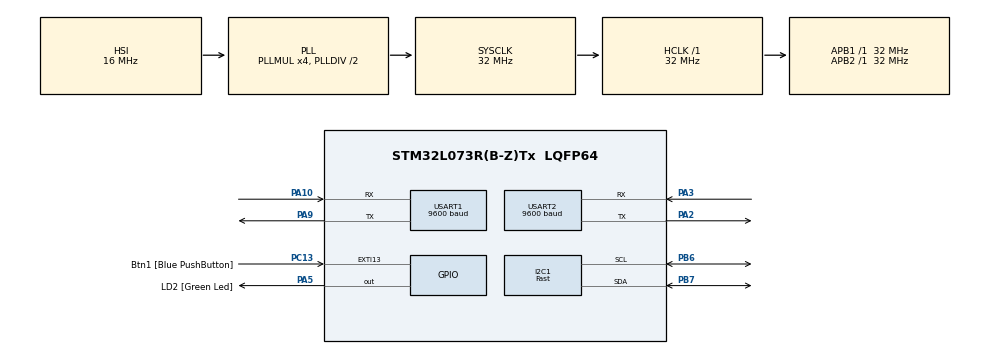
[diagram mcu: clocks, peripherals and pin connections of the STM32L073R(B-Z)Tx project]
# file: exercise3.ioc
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I2C1.I2C_Fall_Time=100
I2C1.I2C_Rise_Time=250
I2C1.I2C_Speed_Mode=I2C_Fast
I2C1.Timing=0x00B0122A
Mcu.Family=STM32L0
Mcu.Name=STM32L073R(B-Z)Tx
Mcu.Package=LQFP64
NVIC.EXTI4_15_IRQn=true\:0\:0\:false\:false\:true\:true
NVIC.I2C1_IRQn=true\:0\:0\:false\:false\:true\:true
NVIC.USART1_IRQn=true\:0\:0\:false\:false\:true\:true
NVIC.USART2_IRQn=true\:0\:0\:false\:false\:true\:true
PA10.Mode=Asynchronous
PA10.Signal=USART1_RX
PA13.Mode=Serial_Wire
PA13.Signal=SYS_SWDIO
PA14.Mode=Serial_Wire
PA14.Signal=SYS_SWCLK
PA2.Mode=Asynchronous
PA2.Signal=USART2_TX
PA3.Mode=Asynchronous
PA3.Signal=USART2_RX
PA5.GPIO_Label=LD2 [Green Led]
PA5.Signal=GPIO_Output
PA9.Mode=Asynchronous
PA9.Signal=USART1_TX
PB6.Mode=I2C
PB6.Signal=I2C1_SCL
PB7.Mode=I2C
PB7.Signal=I2C1_SDA
PC13.GPIO_Label=Btn1 [Blue PushButton]
PC13.Signal=GPXTI13
ProjectManager.HeapSize=0x200
ProjectManager.StackSize=0x400
ProjectManager.TargetToolchain=MDK-ARM V5
RCC.AHBFreq_Value=32000000
RCC.APB1Freq_Value=32000000
RCC.APB1TimFreq_Value=32000000
RCC.APB2Freq_Value=32000000
RCC.APB2TimFreq_Value=32000000
RCC.HCLKFreq_Value=32000000
RCC.HSE_VALUE=8000000
RCC.HSI16_VALUE=16000000
RCC.HSI48_VALUE=48000000
RCC.HSI_VALUE=16000000
RCC.LSE_VALUE=32768
RCC.MSI_VALUE=2097000
RCC.PLLMUL=RCC_PLLMUL_4
RCC.SYSCLKFreq_VALUE=32000000
RCC.SYSCLKSource=RCC_SYSCLKSOURCE_PLLCLK
RCC.VCOOutputFreq_Value=64000000
USART1.BaudRate=9600
USART1.VirtualMode-Asynchronous=VM_ASYNC
USART1.WordLength=WORDLENGTH_8B
USART2.BaudRate=9600
USART2.VirtualMode-Asynchronous=VM_ASYNC
USART2.WordLength=WORDLENGTH_8B
board=NUCLEO-L073RZ

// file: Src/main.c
/**
  ******************************************************************************
  * @file           : main.c
  * @brief          : Main program body
  ******************************************************************************
  ** This notice applies to any and all portions of this file
  * that are not between comment pairs USER CODE BEGIN and
  * USER CODE END. Other portions of this file, whether
  * inserted by the user or by software development tools
  * are owned by their respective copyright owners.
  *
  * COPYRIGHT(c) 2018 STMicroelectronics
  *
  * Redistribution and use in source and binary forms, with or without modification,
  * are permitted provided that the following conditions are met:
  *   1. Redistributions of source code must retain the above copyright notice,
  *      this list of conditions and the following disclaimer.
  *   2. Redistributions in binary form must reproduce the above copyright notice,
  *      this list of conditions and the following disclaimer in the documentation
  *      and/or other materials provided with the distribution.
  *   3. Neither the name of STMicroelectronics nor the names of its contributors
  *      may be used to endorse or promote products derived from this software
  *      without specific prior written permission.
  *
  * THIS SOFTWARE IS PROVIDED BY THE COPYRIGHT HOLDERS AND CONTRIBUTORS "AS IS"
  * AND ANY EXPRESS OR IMPLIED WARRANTIES, INCLUDING, BUT NOT LIMITED TO, THE
  * IMPLIED WARRANTIES OF MERCHANTABILITY AND FITNESS FOR A PARTICULAR PURPOSE ARE
  * DISCLAIMED. IN NO EVENT SHALL THE COPYRIGHT HOLDER OR CONTRIBUTORS BE LIABLE
  * FOR ANY DIRECT, INDIRECT, INCIDENTAL, SPECIAL, EXEMPLARY, OR CONSEQUENTIAL
  * DAMAGES (INCLUDING, BUT NOT LIMITED TO, PROCUREMENT OF SUBSTITUTE GOODS OR
  * SERVICES; LOSS OF USE, DATA, OR PROFITS; OR BUSINESS INTERRUPTION) HOWEVER
  * CAUSED AND ON ANY THEORY OF LIABILITY, WHETHER IN CONTRACT, STRICT LIABILITY,
  * OR TORT (INCLUDING NEGLIGENCE OR OTHERWISE) ARISING IN ANY WAY OUT OF THE USE
  * OF THIS SOFTWARE, EVEN IF ADVISED OF THE POSSIBILITY OF SUCH DAMAGE.
  *
  ******************************************************************************
  */
#include "main.h"
#include "stm32l0xx_hal.h"

/* USER CODE BEGIN Includes */
#include <stdio.h>
#include <string.h>
#include <stdbool.h>

#define DELAY_UART_TX			120			/* delay for write debug string*/

// I2C
#define I2C_ADDRESS       			0x00
#define I2C_MASTER_REQ_READ   	 	0x12
#define I2C_MASTER_REQ_WRITE   		0x34

/* USER CODE END Includes */

I2C_HandleTypeDef hi2c1;

UART_HandleTypeDef huart1;
UART_HandleTypeDef huart2;

/* USER CODE BEGIN PV */
/* Private variables ---------------------------------------------------------*/

typedef enum {
	TRANSFER_TX_RESET = 0,
	TRANSFER_TX_WAIT,
	TRANSFER_TX_COMPLETE,
	TRANSFER_RX_RESET,
	TRANSFER_RX_WAIT,
	TRANSFER_RX_COMPLETE,
	TRANSFER_ERROR
} TransferStatus;

/**** GPIO *****/
static __IO ITStatus GPIO_Btn1_Pin_Pressed = RESET;               /* Set to 1 if GPIO Btn1_Pin pressed */
int LED_pattern = 0;

/**** UART *****/
uint8_t UART_txBuffer[UART_TXBUFFERSIZE];
uint8_t UART_rxBuffer[UART_RXBUFFERSIZE];

static __IO ITStatus UART_txCompleteDetected = RESET;       	/* Set to 1 if UART TX is completed */
static __IO TransferStatus UART_rxStatus = TRANSFER_RX_RESET;
static __IO ITStatus UART_transErrorDetected = RESET;       	/* Set to 1 if a UART error TX,RX is detected */

/**** I2C *****/
uint8_t I2C_Buffer[I2C_BUFFERSIZE];

/* USER CODE END PV */

void SystemClock_Config(void);
static void MX_GPIO_Init(void);
static void MX_USART2_UART_Init(void);
static void MX_I2C1_Init(void);
static void MX_USART1_UART_Init(void);

/* USER CODE BEGIN PFP */
/* Private function prototypes -----------------------------------------------*/
static void uart_log(char *s);
static void uart_print(uint8_t* p_buf, uint16_t buf_len);
static void uart_check_cmd(void);

static void i2c_master_send(void);
static void i2c_master_receive(void);
static void i2c_slave_receive(void);

/* USER CODE END PFP */

int main(void)
{

  /* MCU Configuration----------------------------------------------------------*/

  /* Reset of all peripherals, Initializes the Flash interface and the Systick. */
  HAL_Init();

  /* Configure the system clock */
  SystemClock_Config();

  /* Initialize all configured peripherals */
  MX_GPIO_Init();
  MX_USART2_UART_Init();
  MX_I2C1_Init();
  MX_USART1_UART_Init();

  /* Infinite loop */
  /* USER CODE BEGIN WHILE */

  uart_log("Hello");

  while (1)
  {
	  uart_check_cmd();

	  if (GPIO_Btn1_Pin_Pressed == SET)
	  {
		  GPIO_Btn1_Pin_Pressed = RESET;
		  HAL_GPIO_TogglePin(LD2_GPIO_Port, LD2_Pin);
	  }

  /* USER CODE END WHILE */

  }

}

void SystemClock_Config(void)
{

  RCC_OscInitTypeDef RCC_OscInitStruct;
  RCC_ClkInitTypeDef RCC_ClkInitStruct;
  RCC_PeriphCLKInitTypeDef PeriphClkInit;

    /**Configure the main internal regulator output voltage
    */
  __HAL_PWR_VOLTAGESCALING_CONFIG(PWR_REGULATOR_VOLTAGE_SCALE1);

    /**Initializes the CPU, AHB and APB busses clocks
    */
  RCC_OscInitStruct.OscillatorType = RCC_OSCILLATORTYPE_HSI;
  RCC_OscInitStruct.HSIState = RCC_HSI_ON;
  RCC_OscInitStruct.HSICalibrationValue = 16;
  RCC_OscInitStruct.PLL.PLLState = RCC_PLL_ON;
  RCC_OscInitStruct.PLL.PLLSource = RCC_PLLSOURCE_HSI;
  RCC_OscInitStruct.PLL.PLLMUL = RCC_PLLMUL_4;
  RCC_OscInitStruct.PLL.PLLDIV = RCC_PLLDIV_2;
  if (HAL_RCC_OscConfig(&RCC_OscInitStruct) != HAL_OK)
  {
    _Error_Handler(__FILE__, __LINE__);
  }

    /**Initializes the CPU, AHB and APB busses clocks
    */
  RCC_ClkInitStruct.ClockType = RCC_CLOCKTYPE_HCLK|RCC_CLOCKTYPE_SYSCLK
                              |RCC_CLOCKTYPE_PCLK1|RCC_CLOCKTYPE_PCLK2;
  RCC_ClkInitStruct.SYSCLKSource = RCC_SYSCLKSOURCE_PLLCLK;
  RCC_ClkInitStruct.AHBCLKDivider = RCC_SYSCLK_DIV1;
  RCC_ClkInitStruct.APB1CLKDivider = RCC_HCLK_DIV1;
  RCC_ClkInitStruct.APB2CLKDivider = RCC_HCLK_DIV1;

  if (HAL_RCC_ClockConfig(&RCC_ClkInitStruct, FLASH_LATENCY_1) != HAL_OK)
  {
    _Error_Handler(__FILE__, __LINE__);
  }

  PeriphClkInit.PeriphClockSelection = RCC_PERIPHCLK_USART1|RCC_PERIPHCLK_USART2
                              |RCC_PERIPHCLK_I2C1;
  PeriphClkInit.Usart1ClockSelection = RCC_USART1CLKSOURCE_PCLK2;
  PeriphClkInit.Usart2ClockSelection = RCC_USART2CLKSOURCE_PCLK1;
  PeriphClkInit.I2c1ClockSelection = RCC_I2C1CLKSOURCE_PCLK1;
  if (HAL_RCCEx_PeriphCLKConfig(&PeriphClkInit) != HAL_OK)
  {
    _Error_Handler(__FILE__, __LINE__);
  }

    /**Configure the Systick interrupt time
    */
  HAL_SYSTICK_Config(HAL_RCC_GetHCLKFreq()/1000);

    /**Configure the Systick
    */
  HAL_SYSTICK_CLKSourceConfig(SYSTICK_CLKSOURCE_HCLK);

  /* SysTick_IRQn interrupt configuration */
  HAL_NVIC_SetPriority(SysTick_IRQn, 0, 0);
}

/* I2C1 init function */
static void MX_I2C1_Init(void)
{

  hi2c1.Instance = I2C1;
  hi2c1.Init.Timing = 0x00B0122A;
  hi2c1.Init.OwnAddress1 = 0;
  hi2c1.Init.AddressingMode = I2C_ADDRESSINGMODE_7BIT;
  hi2c1.Init.DualAddressMode = I2C_DUALADDRESS_DISABLE;
  hi2c1.Init.OwnAddress2 = 0;
  hi2c1.Init.OwnAddress2Masks = I2C_OA2_NOMASK;
  hi2c1.Init.GeneralCallMode = I2C_GENERALCALL_DISABLE;
  hi2c1.Init.NoStretchMode = I2C_NOSTRETCH_DISABLE;
  if (HAL_I2C_Init(&hi2c1) != HAL_OK)
  {
    _Error_Handler(__FILE__, __LINE__);
  }

    /**Configure Analogue filter
    */
  if (HAL_I2CEx_ConfigAnalogFilter(&hi2c1, I2C_ANALOGFILTER_ENABLE) != HAL_OK)
  {
    _Error_Handler(__FILE__, __LINE__);
  }

    /**Configure Digital filter
    */
  if (HAL_I2CEx_ConfigDigitalFilter(&hi2c1, 0) != HAL_OK)
  {
    _Error_Handler(__FILE__, __LINE__);
  }

}

/* USART1 init function */
static void MX_USART1_UART_Init(void)
{

  huart1.Instance = USART1;
  huart1.Init.BaudRate = 9600;
  huart1.Init.WordLength = UART_WORDLENGTH_8B;
  huart1.Init.StopBits = UART_STOPBITS_1;
  huart1.Init.Parity = UART_PARITY_NONE;
  huart1.Init.Mode = UART_MODE_TX_RX;
  huart1.Init.HwFlowCtl = UART_HWCONTROL_NONE;
  huart1.Init.OverSampling = UART_OVERSAMPLING_16;
  huart1.Init.OneBitSampling = UART_ONE_BIT_SAMPLE_DISABLE;
  huart1.AdvancedInit.AdvFeatureInit = UART_ADVFEATURE_NO_INIT;
  if (HAL_UART_Init(&huart1) != HAL_OK)
  {
    _Error_Handler(__FILE__, __LINE__);
  }

}

/* USART2 init function */
static void MX_USART2_UART_Init(void)
{

  huart2.Instance = USART2;
  huart2.Init.BaudRate = 9600;
  huart2.Init.WordLength = UART_WORDLENGTH_8B;
  huart2.Init.StopBits = UART_STOPBITS_1;
  huart2.Init.Parity = UART_PARITY_NONE;
  huart2.Init.Mode = UART_MODE_TX_RX;
  huart2.Init.HwFlowCtl = UART_HWCONTROL_NONE;
  huart2.Init.OverSampling = UART_OVERSAMPLING_16;
  huart2.Init.OneBitSampling = UART_ONE_BIT_SAMPLE_DISABLE;
  huart2.AdvancedInit.AdvFeatureInit = UART_ADVFEATURE_NO_INIT;
  if (HAL_UART_Init(&huart2) != HAL_OK)
  {
    _Error_Handler(__FILE__, __LINE__);
  }

}

/** Configure pins as
        * Analog
        * Input
        * Output
        * EVENT_OUT
        * EXTI
        * Free pins are configured automatically as Analog (this feature is enabled through
        * the Code Generation settings)
*/
static void MX_GPIO_Init(void)
{

  GPIO_InitTypeDef GPIO_InitStruct;

  /* GPIO Ports Clock Enable */
  __HAL_RCC_GPIOC_CLK_ENABLE();
  __HAL_RCC_GPIOH_CLK_ENABLE();
  __HAL_RCC_GPIOA_CLK_ENABLE();
  __HAL_RCC_GPIOB_CLK_ENABLE();
  __HAL_RCC_GPIOD_CLK_ENABLE();

  /*Configure GPIO pin Output Level */
  HAL_GPIO_WritePin(LD2_GPIO_Port, LD2_Pin, GPIO_PIN_RESET);

  /*Configure GPIO pin : Btn1_Pin */
  GPIO_InitStruct.Pin = Btn1_Pin;
  GPIO_InitStruct.Mode = GPIO_MODE_IT_RISING;
  GPIO_InitStruct.Pull = GPIO_NOPULL;
  HAL_GPIO_Init(Btn1_GPIO_Port, &GPIO_InitStruct);

  /*Configure GPIO pins : PC14 PC15 PC0 PC1
                           PC2 PC3 PC4 PC5
                           PC6 PC7 PC8 PC9
                           PC10 PC11 PC12 */
  GPIO_InitStruct.Pin = GPIO_PIN_14|GPIO_PIN_15|GPIO_PIN_0|GPIO_PIN_1
                          |GPIO_PIN_2|GPIO_PIN_3|GPIO_PIN_4|GPIO_PIN_5
                          |GPIO_PIN_6|GPIO_PIN_7|GPIO_PIN_8|GPIO_PIN_9
                          |GPIO_PIN_10|GPIO_PIN_11|GPIO_PIN_12;
  GPIO_InitStruct.Mode = GPIO_MODE_ANALOG;
  GPIO_InitStruct.Pull = GPIO_NOPULL;
  HAL_GPIO_Init(GPIOC, &GPIO_InitStruct);

  /*Configure GPIO pins : PH0 PH1 */
  GPIO_InitStruct.Pin = GPIO_PIN_0|GPIO_PIN_1;
  GPIO_InitStruct.Mode = GPIO_MODE_ANALOG;
  GPIO_InitStruct.Pull = GPIO_NOPULL;
  HAL_GPIO_Init(GPIOH, &GPIO_InitStruct);

  /*Configure GPIO pins : PA0 PA1 PA4 PA6
                           PA7 PA8 PA11 PA12
                           PA15 */
  GPIO_InitStruct.Pin = GPIO_PIN_0|GPIO_PIN_1|GPIO_PIN_4|GPIO_PIN_6
                          |GPIO_PIN_7|GPIO_PIN_8|GPIO_PIN_11|GPIO_PIN_12
                          |GPIO_PIN_15;
  GPIO_InitStruct.Mode = GPIO_MODE_ANALOG;
  GPIO_InitStruct.Pull = GPIO_NOPULL;
  HAL_GPIO_Init(GPIOA, &GPIO_InitStruct);

  /*Configure GPIO pin : LD2_Pin */
  GPIO_InitStruct.Pin = LD2_Pin;
  GPIO_InitStruct.Mode = GPIO_MODE_OUTPUT_PP;
  GPIO_InitStruct.Pull = GPIO_NOPULL;
  GPIO_InitStruct.Speed = GPIO_SPEED_FREQ_LOW;
  HAL_GPIO_Init(LD2_GPIO_Port, &GPIO_InitStruct);

  /*Configure GPIO pins : PB0 PB1 PB2 PB10
                           PB11 PB12 PB13 PB14
                           PB15 PB3 PB4 PB5
                           PB8 PB9 */
  GPIO_InitStruct.Pin = GPIO_PIN_0|GPIO_PIN_1|GPIO_PIN_2|GPIO_PIN_10
                          |GPIO_PIN_11|GPIO_PIN_12|GPIO_PIN_13|GPIO_PIN_14
                          |GPIO_PIN_15|GPIO_PIN_3|GPIO_PIN_4|GPIO_PIN_5
                          |GPIO_PIN_8|GPIO_PIN_9;
  GPIO_InitStruct.Mode = GPIO_MODE_ANALOG;
  GPIO_InitStruct.Pull = GPIO_NOPULL;
  HAL_GPIO_Init(GPIOB, &GPIO_InitStruct);

  /*Configure GPIO pin : PD2 */
  GPIO_InitStruct.Pin = GPIO_PIN_2;
  GPIO_InitStruct.Mode = GPIO_MODE_ANALOG;
  GPIO_InitStruct.Pull = GPIO_NOPULL;
  HAL_GPIO_Init(GPIOD, &GPIO_InitStruct);

  /* EXTI interrupt init*/
  HAL_NVIC_SetPriority(EXTI4_15_IRQn, 0, 0);
  HAL_NVIC_EnableIRQ(EXTI4_15_IRQn);

}

/* USER CODE BEGIN 4 */

/**
  * @brief  EXTI line detection callbacks.
  * @param  GPIO_Pin: Specifies the pins connected to the EXTI line.
  * @retval None
  */
void HAL_GPIO_EXTI_Callback(uint16_t GPIO_Pin)
{
  GPIO_Btn1_Pin_Pressed = SET;
}

/********************************** UART **********************************/
/**
  * @brief Tx Transfer completed callback.
  * @param huart: UART handle.
  * @retval None
  */
void HAL_UART_TxCpltCallback(UART_HandleTypeDef *huart)
{
  UART_txCompleteDetected = SET;
}

/**
  * @brief Rx Transfer completed callback.
  * @param huart: UART handle.
  * @retval None
  */
void HAL_UART_RxCpltCallback(UART_HandleTypeDef *huart)
{
	UART_rxStatus = TRANSFER_RX_COMPLETE;
}

/**
  * @brief UART error callback.
  * @param huart: UART handle.
  * @retval None
  */
void HAL_UART_ErrorCallback(UART_HandleTypeDef *huart)
{
	UART_transErrorDetected = SET;
}

/**
  * @brief UART print.
  * @retval None
  */
static void uart_print(uint8_t* p_buf, uint16_t buf_len)
{
	if(HAL_UART_Transmit_IT(&huart2, (uint8_t*)p_buf, buf_len)!= HAL_OK)
	{
		Error_Handler();
	}
	/*## Wait for the end of the TX transfer ##*/
	while (UART_txCompleteDetected != SET)
	{
	}

	/* Reset transmission flag */
	UART_txCompleteDetected = RESET;
	HAL_Delay(DELAY_UART_TX);
}

/**
  * @brief UART log.
  * @retval None
  */
static void uart_log(char *str)
{
	strcpy((char*)UART_txBuffer, str);
	uart_print(UART_txBuffer, strlen((char*) UART_txBuffer));
}

static void uart_check_cmd(void) {
	if (UART_rxStatus == TRANSFER_RX_RESET)
	{
		//uart_log("UART prepare to receive");

		/*## Put UART peripheral in reception process  ##*/
		if(HAL_UART_Receive_IT(&huart2, (uint8_t*)UART_rxBuffer, UART_RXBUFFERSIZE) != HAL_OK)
		{
			Error_Handler();
			uart_log("UART receiveIT error");
		} else {
			UART_rxStatus = TRANSFER_RX_WAIT;
			//uart_log("UART ready to receive");
		}
	}

	if (UART_rxStatus == TRANSFER_RX_COMPLETE)
	{
		//uart_log("UART received");
		switch(UART_rxBuffer[2])
		{
			case 1: /* "i" init */
				uart_log("CMD i");
				break;
			case 11:
				i2c_master_send();
				break;
			case 12:
				i2c_master_receive();
				break;
			case 13:
				i2c_slave_receive();
				break;
			default:
				uart_log("Unknown CMD");
		} /* end switch*/
		UART_rxStatus = TRANSFER_RX_RESET;
	}

	HAL_Delay(10);
}

/********************************** I2C **********************************/
static void i2c_master_send(void)
{
	HAL_GPIO_WritePin(LD2_GPIO_Port, LD2_Pin, GPIO_PIN_SET);

	/*## Master sends write request to slave ##*/
	uint8_t bTransferRequest = I2C_MASTER_REQ_WRITE;
	uart_log("M send WriteReq");
	do {
		while(HAL_I2C_Master_Transmit_IT(&hi2c1, (uint16_t)I2C_ADDRESS, (uint8_t*)&bTransferRequest, 1)!= HAL_OK)
		{
			HAL_GPIO_TogglePin(LD2_GPIO_Port, LD2_Pin);
			HAL_Delay(3000);
		}
		while (HAL_I2C_GetState(&hi2c1) != HAL_I2C_STATE_READY)
		{
			HAL_GPIO_TogglePin(LD2_GPIO_Port, LD2_Pin);
			HAL_Delay(500);
		}
		HAL_GPIO_TogglePin(LD2_GPIO_Port, LD2_Pin);
		HAL_Delay(100);
	} while(HAL_I2C_GetError(&hi2c1) == HAL_I2C_ERROR_AF);

	/*## Master sends number of data to be written ##*/
	uint8_t dataNum = I2C_BUFFERSIZE;
	int16_t count = sprintf((char*) UART_txBuffer, "M send size of data: %d\n", dataNum);
	uart_print(UART_txBuffer, count);
	do {
		while(HAL_I2C_Master_Transmit_IT(&hi2c1, (uint16_t)I2C_ADDRESS, (uint8_t*)&dataNum, 1)!= HAL_OK)
		{
			HAL_GPIO_TogglePin(LD2_GPIO_Port, LD2_Pin);
			HAL_Delay(3000);
		}
		while (HAL_I2C_GetState(&hi2c1) != HAL_I2C_STATE_READY)
		{
			HAL_GPIO_TogglePin(LD2_GPIO_Port, LD2_Pin);
			HAL_Delay(500);
		}
		HAL_GPIO_TogglePin(LD2_GPIO_Port, LD2_Pin);
		HAL_Delay(100);
	} while(HAL_I2C_GetError(&hi2c1) == HAL_I2C_ERROR_AF);

	/*## Master sends aTxBuffer to slave ##*/
	strcpy((char*) I2C_Buffer, "Here is the Data...");
	uart_log("M send data");
	uart_print(I2C_Buffer, dataNum);
	do {
		while(HAL_I2C_Master_Transmit_IT(&hi2c1, (uint16_t)I2C_ADDRESS, I2C_Buffer, dataNum)!= HAL_OK)
		{
			HAL_GPIO_TogglePin(LD2_GPIO_Port, LD2_Pin);
			HAL_Delay(3000);
		}
		while (HAL_I2C_GetState(&hi2c1) != HAL_I2C_STATE_READY)
		{
			HAL_GPIO_TogglePin(LD2_GPIO_Port, LD2_Pin);
			HAL_Delay(500);
		}
		HAL_GPIO_TogglePin(LD2_GPIO_Port, LD2_Pin);
		HAL_Delay(100);
	} while(HAL_I2C_GetError(&hi2c1) == HAL_I2C_ERROR_AF);

	HAL_GPIO_WritePin(LD2_GPIO_Port, LD2_Pin, GPIO_PIN_RESET);
}

static void i2c_master_receive(void)
{
	HAL_GPIO_WritePin(LD2_GPIO_Port, LD2_Pin, GPIO_PIN_SET);

	/*## Master sends read request to slave ##*/
	uint8_t bTransferRequest = I2C_MASTER_REQ_READ;
	uart_log("M send WriteReq");
	do {
		while(HAL_I2C_Master_Transmit_IT(&hi2c1, (uint16_t)I2C_ADDRESS, (uint8_t*)&bTransferRequest, 1)!= HAL_OK)
		{
			HAL_GPIO_TogglePin(LD2_GPIO_Port, LD2_Pin);
			HAL_Delay(3000);
		}
		while (HAL_I2C_GetState(&hi2c1) != HAL_I2C_STATE_READY)
		{
			HAL_GPIO_TogglePin(LD2_GPIO_Port, LD2_Pin);
			HAL_Delay(500);
		}
		HAL_GPIO_TogglePin(LD2_GPIO_Port, LD2_Pin);
		HAL_Delay(100);
	} while(HAL_I2C_GetError(&hi2c1) == HAL_I2C_ERROR_AF);

	/*## Master sends number of data to be read ##*/
	uint8_t dataNum = I2C_BUFFERSIZE;
	int16_t count = sprintf((char*) UART_txBuffer, "M send size of data: %d\n", dataNum);
	uart_print(UART_txBuffer, count);
	do {
		while(HAL_I2C_Master_Transmit_IT(&hi2c1, (uint16_t)I2C_ADDRESS, (uint8_t*)&dataNum, 1)!= HAL_OK)
		{
			HAL_GPIO_TogglePin(LD2_GPIO_Port, LD2_Pin);
			HAL_Delay(3000);
		}
		while (HAL_I2C_GetState(&hi2c1) != HAL_I2C_STATE_READY)
		{
			HAL_GPIO_TogglePin(LD2_GPIO_Port, LD2_Pin);
			HAL_Delay(500);
		}
		HAL_GPIO_TogglePin(LD2_GPIO_Port, LD2_Pin);
		HAL_Delay(100);
	} while(HAL_I2C_GetError(&hi2c1) == HAL_I2C_ERROR_AF);

	/*## Master receives data from slave ##*/
	uart_log("S waiting for write data");
	do {
		while (HAL_I2C_Master_Receive_IT(&hi2c1, (uint16_t)I2C_ADDRESS, (uint8_t*)I2C_Buffer, dataNum)!= HAL_OK)
		{
			HAL_GPIO_TogglePin(LD2_GPIO_Port, LD2_Pin);
			HAL_Delay(3000);
		}
		while (HAL_I2C_GetState(&hi2c1) != HAL_I2C_STATE_READY)
		{
			HAL_GPIO_TogglePin(LD2_GPIO_Port, LD2_Pin);
			HAL_Delay(500);
		}
		HAL_GPIO_TogglePin(LD2_GPIO_Port, LD2_Pin);
		HAL_Delay(100);
	} while(HAL_I2C_GetError(&hi2c1) == HAL_I2C_ERROR_AF);

	uart_log("M receive data: ");
	uart_print(I2C_Buffer, dataNum);

	HAL_GPIO_WritePin(LD2_GPIO_Port, LD2_Pin, GPIO_PIN_RESET);
}

static void i2c_slave_receive(void)
{
	HAL_GPIO_WritePin(LD2_GPIO_Port, LD2_Pin, GPIO_PIN_SET);

	/*## Request ##*/
	uint8_t bTransferRequest = I2C_MASTER_REQ_READ;
	uart_log("S start receiving, waiting for REQ");
	do {
		while(HAL_I2C_Slave_Receive_IT(&hi2c1, (uint8_t*)&bTransferRequest, 1)!= HAL_OK)
		{
			HAL_GPIO_TogglePin(LD2_GPIO_Port, LD2_Pin);
			HAL_Delay(3000);
		}
		while (HAL_I2C_GetState(&hi2c1) != HAL_I2C_STATE_READY)
		{
			HAL_GPIO_TogglePin(LD2_GPIO_Port, LD2_Pin);
			HAL_Delay(500);
		}
		HAL_GPIO_TogglePin(LD2_GPIO_Port, LD2_Pin);
		HAL_Delay(100);
	} while(HAL_I2C_GetError(&hi2c1) == HAL_I2C_ERROR_AF);

	// dataNum
	uart_log("S waiting for dataNum");
	uint8_t dataNum = 0;
	do {
		while(HAL_I2C_Slave_Receive_IT(&hi2c1, (uint8_t*)&dataNum, 1)!= HAL_OK)
		{
			HAL_GPIO_TogglePin(LD2_GPIO_Port, LD2_Pin);
			HAL_Delay(3000);
		}
		while (HAL_I2C_GetState(&hi2c1) != HAL_I2C_STATE_READY)
		{
			HAL_GPIO_TogglePin(LD2_GPIO_Port, LD2_Pin);
			HAL_Delay(500);
		}
		HAL_GPIO_TogglePin(LD2_GPIO_Port, LD2_Pin);
		HAL_Delay(100);
	} while(HAL_I2C_GetError(&hi2c1) == HAL_I2C_ERROR_AF);

	int16_t count = sprintf((char*) UART_txBuffer, "S receive size of data: %d\n", dataNum);
	uart_print(UART_txBuffer, count);

	// data
	if (bTransferRequest == I2C_MASTER_REQ_WRITE)
	{
		uart_log("S waiting for write data");
		do {
			while (HAL_I2C_Slave_Receive_IT(&hi2c1, (uint8_t*)I2C_Buffer, dataNum)!= HAL_OK)
			{
				HAL_GPIO_TogglePin(LD2_GPIO_Port, LD2_Pin);
				HAL_Delay(3000);
			}
			while (HAL_I2C_GetState(&hi2c1) != HAL_I2C_STATE_READY)
			{
				HAL_GPIO_TogglePin(LD2_GPIO_Port, LD2_Pin);
				HAL_Delay(500);
			}
			HAL_GPIO_TogglePin(LD2_GPIO_Port, LD2_Pin);
			HAL_Delay(100);
		} while(HAL_I2C_GetError(&hi2c1) == HAL_I2C_ERROR_AF);

		uart_log("S receive data: ");
		uart_print(I2C_Buffer, dataNum);

	} else {
		strcpy((char*) I2C_Buffer, "Hello, message from Slave...");
		uart_log("S sent read data to M");
		do {
			while (HAL_I2C_Slave_Transmit_IT(&hi2c1, (uint8_t*)I2C_Buffer, dataNum)!= HAL_OK)
			{
				HAL_GPIO_TogglePin(LD2_GPIO_Port, LD2_Pin);
				HAL_Delay(3000);
			}
			while (HAL_I2C_GetState(&hi2c1) != HAL_I2C_STATE_READY)
			{
				HAL_GPIO_TogglePin(LD2_GPIO_Port, LD2_Pin);
				HAL_Delay(500);
			}
			HAL_GPIO_TogglePin(LD2_GPIO_Port, LD2_Pin);
			HAL_Delay(100);
		} while(HAL_I2C_GetError(&hi2c1) == HAL_I2C_ERROR_AF);

		uart_log("S send data done: ");
		uart_print(I2C_Buffer, dataNum);
	}

	HAL_GPIO_WritePin(LD2_GPIO_Port, LD2_Pin, GPIO_PIN_RESET);
}

/* USER CODE END 4 */

void _Error_Handler(char *file, int line)
{
  while(1)
  {
  }
}

/************************ (C) COPYRIGHT STMicroelectronics *****END OF FILE****/
